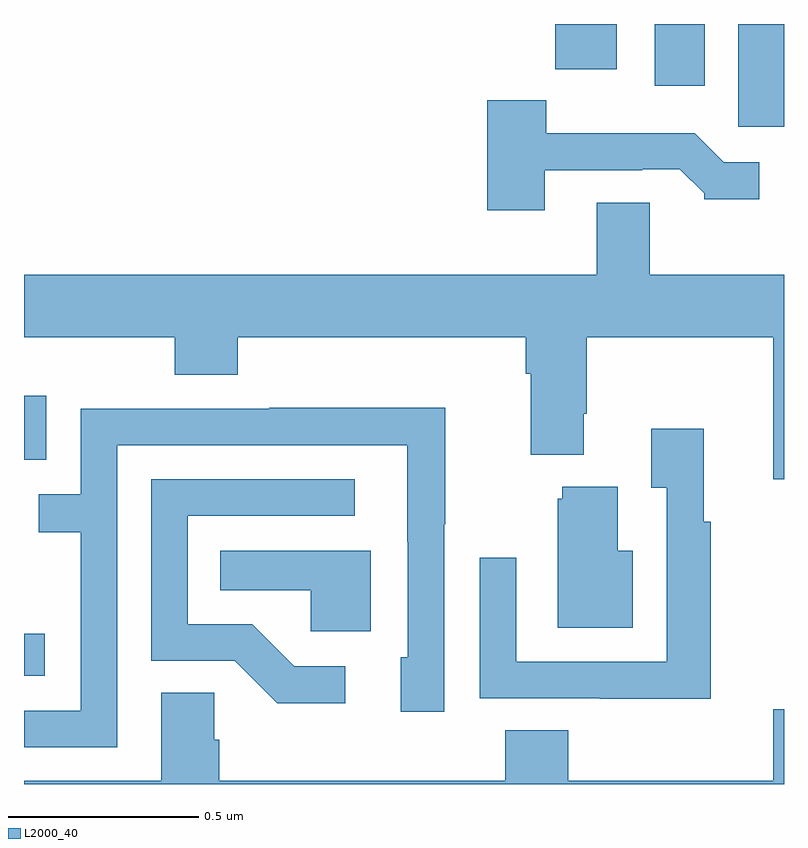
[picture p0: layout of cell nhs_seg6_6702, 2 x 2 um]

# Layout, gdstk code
import gdstk
lib = gdstk.Library(unit=1e-6, precision=1e-09)
def R(c, l, rs):  # rectangles x0, y0, x1, y1
    for r in rs: c.add(gdstk.rectangle(r[:2], r[2:], *l))
def P(c, l, *ps):  # polygons
    for p in ps: c.add(gdstk.Polygon(p, *l))
L2000_40 = (2000, 40)

nhs_seg6_6702 = lib.new_cell('nhs_seg6_6702')
R(nhs_seg6_6702, L2000_40, [(199,939.785,199.054,939.895), (199,940.353,199.059,940.522), (200.879,941.229,201,941.5), (200.66,941.337,200.791,941.5), (200.398,941.381,200.56,941.5)])
P(nhs_seg6_6702, L2000_40, [(200.371,941.115),(200.627,941.115),(200.627,941.118),(200.726,941.118),(200.79,941.054),(200.79,941.039),(200.935,941.039),(200.935,941.136),(200.841,941.136),(200.765,941.212),(200.374,941.212),(200.374,941.299),(200.219,941.299),(200.219,941.01),(200.371,941.01)],
  [(201,940.84),(200.647,940.84),(200.647,941.03),(200.507,941.03),(200.507,940.84),(199,940.84),(199,940.676),(199.397,940.676),(199.397,940.577),(199.562,940.577),(199.562,940.676),(200.321,940.676),(200.321,940.58),(200.333,940.58),(200.333,940.367),(200.473,940.367),(200.473,940.474),(200.481,940.474),(200.481,940.676),(200.972,940.676),(200.972,940.302),(201,940.302)],
  [(199.245,940.392),(200.009,940.392),(200.009,940.138),(200.01,940.138),(200.01,939.834),(199.991,939.834),(199.991,939.69),(200.106,939.69),(200.106,940.183),(200.109,940.183),(200.109,940.49),(199.645,940.49),(199.645,940.488),(199.149,940.488),(199.149,940.263),(199.039,940.263),(199.039,940.162),(199.149,940.162),(199.149,939.693),(199,939.693),(199,939.597),(199.245,939.597)],
  [(200.807,940.19),(200.789,940.19),(200.789,940.435),(200.651,940.435),(200.651,940.279),(200.691,940.279),(200.691,939.822),(200.295,939.822),(200.295,940.096),(200.199,940.096),(200.199,939.726),(200.515,939.726),(200.515,939.725),(200.807,939.725)],
  [(199.846,939.81),(199.711,939.81),(199.6,939.921),(199.431,939.921),(199.431,940.206),(199.87,940.206),(199.87,940.302),(199.335,940.302),(199.335,939.825),(199.554,939.825),(199.667,939.713),(199.846,939.713)],
  [(200.602,940.114),(200.563,940.114),(200.563,940.282),(200.417,940.282),(200.417,940.251),(200.405,940.251),(200.405,939.911),(200.602,939.911)],
  [(199.912,940.114),(199.516,940.114),(199.516,940.01),(199.755,940.01),(199.755,939.902),(199.912,939.902)],
  [(201,939.697),(200.972,939.697),(200.972,939.508),(200.432,939.508),(200.432,939.641),(200.267,939.641),(200.267,939.508),(199.514,939.508),(199.514,939.617),(199.5,939.617),(199.5,939.74),(199.361,939.74),(199.361,939.508),(199,939.508),(199,939.5),(201,939.5)])

lib.write_gds('nhs_seg6_6702.gds')
